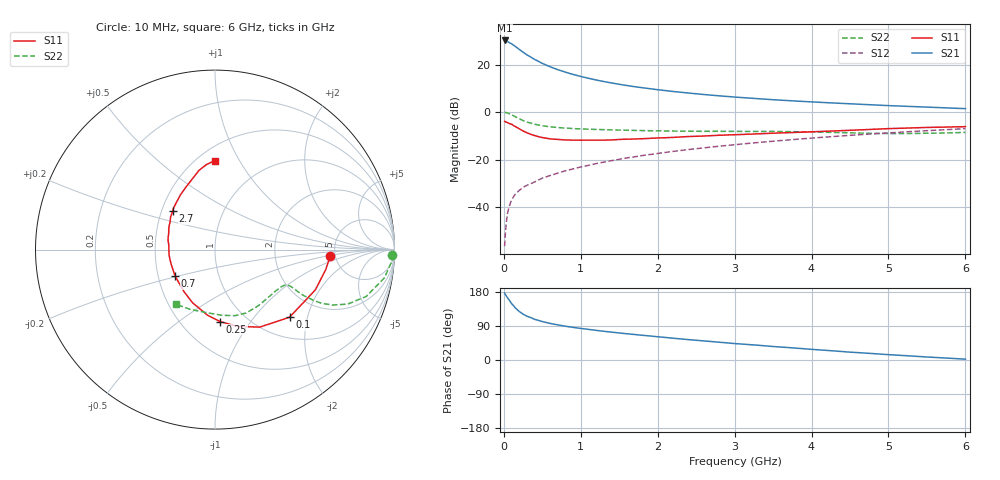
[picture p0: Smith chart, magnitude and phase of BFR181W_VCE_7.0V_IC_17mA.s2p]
! Infineon Technologies  Discrete & RF Semiconductors
! BFR181W
! VCE =  7.0 V,  IC =  17 mA
! Common Emitter S-Parameters:  Jan 2017
# GHz  S  MA  R  50
!  f  S11  S21  S12  S22
! GHz  MAG  ANG  MAG  ANG  MAG  ANG  MAG  ANG
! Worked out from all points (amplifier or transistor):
!   77 points, 10 MHz to 6 GHz, reference 50 ohm
!   highest |S21| = 30.2 dB at 10 MHz (marker M1)
!   |S21| within 3 dB of that: start of sweep to 169 MHz
!   unconditionally stable (mu >= 1): 819.9 MHz to 2.696 GHz
!   at 130 MHz: K = 0.37, MSG = 31.8 dB, |S12| = -35.4 dB
!   at 2.2 GHz: K = 1.04, MAG = 11.5 dB, |S12| = -16.5 dB
!   at 6 GHz: K = 0.84, MSG = 4.2 dB, |S12| = -7.0 dB
!   S11 on the Smith chart (normalised r, x): 10 MHz: 4.51, -0.58; 100 MHz: 1.42, -1.56; 250 MHz: 0.76, -0.73; 700 MHz: 0.61, -0.19; 2.7 GHz: 0.57, +0.28; 6 GHz: 0.60, +0.79
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0.01  0.6419 -3.4  32.45 176.5  0.0015 97.8  0.9861 -1.7
0.02  0.6274 -10.1  31.9 172.7  0.0028 93.8  0.9881 -3.6
0.05  0.6023 -21.9  30.73 163.4  0.0077 80.9  0.9574 -9.4
0.1  0.5608 -42.2  27.65 148.9  0.014 73.5  0.8825 -17.2
0.15  0.4987 -60.0  24.26 137.3  0.0189 68.4  0.7998 -22.3
0.2  0.4462 -73.6  21.01 128.1  0.0224 66.7  0.7255 -25.2
0.25  0.4021 -85.9  18.37 121.0  0.0262 64.4  0.6668 -26.7
0.3  0.368 -96.5  16.14 115.5  0.0287 63.7  0.6193 -27.3
0.4  0.3215 -112.9  12.92 107.3  0.0338 64.8  0.5569 -27.4
0.5  0.2919 -125.9  10.67 101.4  0.0407 65.9  0.5172 -26.9
0.6  0.2741 -136.6  9.081 96.6  0.0461 67.1  0.4921 -26.3
0.7  0.2665 -146.6  7.883 92.7  0.0518 68.7  0.4743 -26.0
0.9  0.2574 -161.5  6.236 86.1  0.0638 69.8  0.452 -26.2
1.1  0.2576 -173.3  5.177 80.8  0.0757 71.0  0.4383 -26.9
1.3  0.2572 177.2  4.418 75.8  0.0886 71.4  0.4277 -28.5
1.5  0.266 169.5  3.868 71.4  0.1015 71.2  0.4189 -30.5
2.1  0.2896 151.1  2.85 59.5  0.1418 69.8  0.402 -39.0
2.7  0.32 137.4  2.281 48.7  0.1843 67.1  0.3951 -49.7
3.1  0.3392 129.4  2.029 42.0  0.2137 64.6  0.3928 -56.9
4.1  0.391 113.0  1.615 26.7  0.292 57.6  0.3803 -75.2
5.1  0.4549 100.3  1.355 12.9  0.3739 49.0  0.3538 -100.7
6  0.4955 90.1  1.187 2.2  0.4491 40.3  0.3747 -125.6
